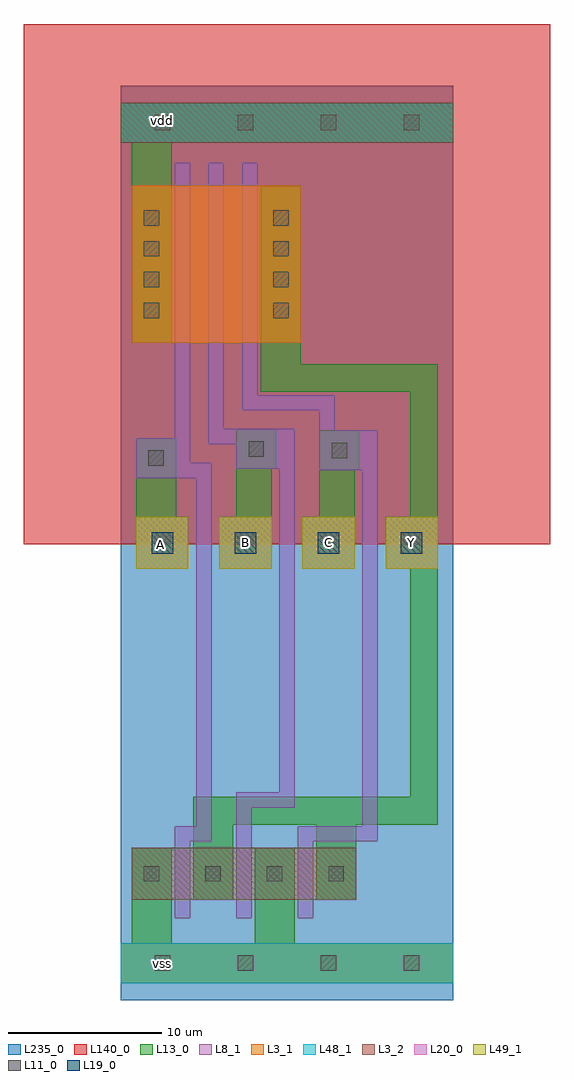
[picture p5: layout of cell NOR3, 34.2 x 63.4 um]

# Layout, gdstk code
import gdstk
lib = gdstk.Library(unit=1e-6, precision=1e-09)
def R(c, l, rs):  # rectangles x0, y0, x1, y1
    for r in rs: c.add(gdstk.rectangle(r[:2], r[2:], *l))
def A(c, l, x, y, w, h, nx, ny, dx, dy):  # array of equal rectangles
    R(c, l, [(x+i*dx, y+j*dy, x+i*dx+w, y+j*dy+h) for i in range(nx) for j in range(ny)])
def P(c, l, *ps):  # polygons
    for p in ps: c.add(gdstk.Polygon(p, *l))
L3_1 = (3, 1)
L3_2 = (3, 2)
L8_1 = (8, 1)
L11_0 = (11, 0)
L13_0 = (13, 0)
L19_0 = (19, 0)
L20_0 = (20, 0)
L48_1 = (48, 1)
L49_1 = (49, 1)
L140_0 = (140, 0)
L235_0 = (235, 0)

nor3 = lib.new_cell('NOR3')
R(nor3, L3_1, [(0,1.1,21.6,3.7), (0.7,42.7,11.7,52.9)])
R(nor3, L3_2, [(0.7,6.5,15.3,9.9), (0,55.7,21.6,58.3)])
P(nor3, L8_1, [(3.5,5.3),(3.5,11.3),(4.9,11.3),(4.9,33.9),(1,33.9),(1,36.5),(3.5,36.5),(3.5,54.4),(4.5,54.4),(4.5,34.9),(5.9,34.9),(5.9,10.3),(4.5,10.3),(4.5,5.3)],
  [(7.5,5.3),(7.5,13.5),(10.3,13.5),(10.3,34.5),(7.5,34.5),(7.5,36.1),(5.7,36.1),(5.7,54.4),(6.7,54.4),(6.7,37.1),(11.3,37.1),(11.3,12.5),(8.5,12.5),(8.5,5.3)],
  [(11.5,5.3),(11.5,11.3),(15.7,11.3),(15.7,34.4),(12.9,34.4),(12.9,38.3),(7.9,38.3),(7.9,54.4),(8.9,54.4),(8.9,39.3),(13.9,39.3),(13.9,37),(16.7,37),(16.7,10.3),(12.5,10.3),(12.5,5.3)])
A(nor3, L11_0, 7.6, 1.9, 1, 1, 3, 2, 5.4, 54.6)
A(nor3, L11_0, 1.5, 7.7, 1, 1, 4, 1, 4, 0)
A(nor3, L11_0, 1.5, 44.3, 1, 1, 1, 4, 0, 2)
A(nor3, L11_0, 9.9, 44.3, 1, 1, 1, 4, 0, 2)
R(nor3, L11_0, [(2.2,1.9,3.2,2.9), (7.6,1.9,8.6,2.9), (1.8,34.7,2.8,35.7), (13.7,35.2,14.7,36.2), (8.3,35.3,9.3,36.3), (2.2,56.5,3.2,57.5), (2.2,56.5,3.2,57.5), (7.6,56.5,8.6,57.5), (7.6,56.5,8.6,57.5), (7.6,56.5,8.6,57.5)])
R(nor3, L13_0, [(0,1.1,21.6,3.7), (0.7,3.7,3.3,9.9), (8.7,3.7,11.3,9.9), (0.7,42.7,3.3,55.7), (0,55.7,21.6,58.3)])
P(nor3, L13_0, [(1,28),(1,36.5),(3.6,36.5),(3.6,31.4),(4.4,31.4),(4.4,28)],
  [(11.8,28),(11.8,31.4),(12.9,31.4),(12.9,37),(15.5,37),(15.5,34.4),(15.2,34.4),(15.2,28)],
  [(6.4,28),(6.4,31.4),(7.5,31.4),(7.5,37.1),(10.1,37.1),(10.1,34.5),(9.8,34.5),(9.8,28)],
  [(4.7,6.5),(4.7,13.2),(18.8,13.2),(18.8,28),(17.2,28),(17.2,31.4),(18.8,31.4),(18.8,39.5),(9.1,39.5),(9.1,52.9),(11.7,52.9),(11.7,41.3),(20.6,41.3),(20.6,11.4),(15.3,11.4),(15.3,6.5),(12.7,6.5),(12.7,11.4),(7.3,11.4),(7.3,6.5)])
A(nor3, L19_0, 2, 29, 1.4, 1.4, 4, 1, 5.4, 0)
A(nor3, L20_0, 1, 28, 3.4, 3.4, 4, 1, 5.4, 0)
R(nor3, L48_1, [(0,1.1,21.6,3.7), (0,55.7,21.6,58.3)])
A(nor3, L49_1, 1, 28, 3.4, 3.4, 4, 1, 5.4, 0)
R(nor3, L140_0, [(-6.3,29.6,27.9,63.4)])
R(nor3, L235_0, [(0,0,21.6,59.4)])
nor3.add(gdstk.Label('Y', (18.9,29.7), layer=49, texttype=0))
nor3.add(gdstk.Label('C', (13.5,29.7), layer=49, texttype=0))
nor3.add(gdstk.Label('A', (2.6,29.6), layer=49, texttype=0))
nor3.add(gdstk.Label('B', (8.1,29.7), layer=49, texttype=0))
nor3.add(gdstk.Label('vss', (2.7,2.4), layer=48, texttype=0))
nor3.add(gdstk.Label('vdd', (2.7,57.1), layer=48, texttype=0))

lib.write_gds('NOR3.gds')
